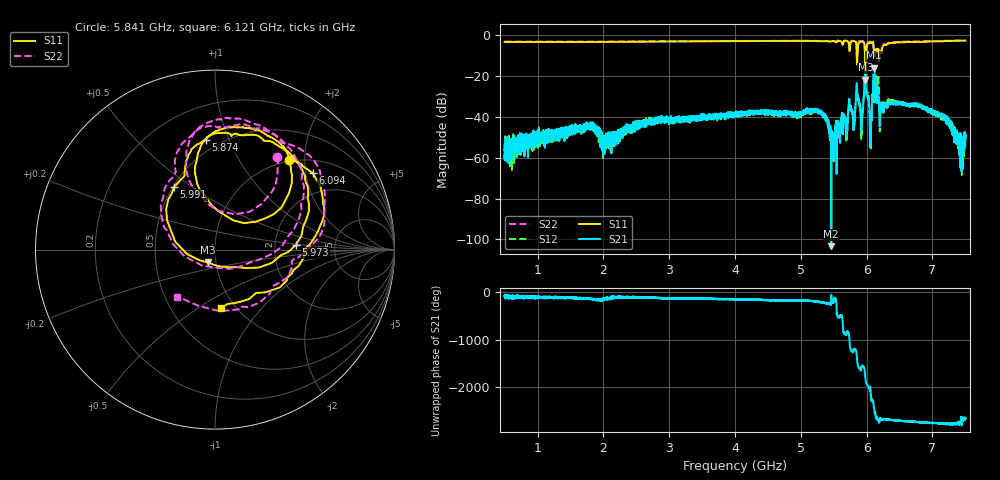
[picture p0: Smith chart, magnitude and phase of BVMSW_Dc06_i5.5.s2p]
!Keysight Technologies,M9374A,MY55442783,A.12.55.05
!Date: Friday, May 21, 2021 10:04:47
!Correction: S11(Full 2 Port(1,2))
!S21(Full 2 Port(1,2))
!S12(Full 2 Port(1,2))
!S22(Full 2 Port(1,2))
!S2P File: Measurements: S11, S21, S12, S22:
# Hz S  RI  R 50
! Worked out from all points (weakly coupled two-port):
!   7001 points, 500 MHz to 7.5 GHz, reference 50 ohm
!   highest |S21| = -15.87 dB at 6.107 GHz (marker M1); lowest = -103.4 dB at 5.463 GHz (marker M2)
!   lowest |S11| = -21.8 dB at 5.982 GHz (marker M3), VSWR 1.18, Z = 45.7 - j6.58 ohm
!   |S11| at or under -10 dB: 5.851134 GHz to 5.85957 GHz (8.436 MHz wide, 0.144 % of centre); 5.976125 GHz to 5.987089 GHz (10.96 MHz wide, 0.183 % of centre); 6.182835 GHz to 6.196389 GHz (13.55 MHz wide, 0.219 % of centre) (the widest 3 of 5)
!   |S22| runs from -20.1 to -2.5 dB; largest |S21 - S12| = 0.14
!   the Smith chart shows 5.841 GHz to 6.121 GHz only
!   S11 on the Smith chart (normalised r, x): 5.841 GHz: 0.99, +1.68; 5.874 GHz: 0.42, +0.83; 5.973 GHz: 2.63, +0.17; 5.991 GHz: 0.51, +0.43; 6.094 GHz: 1.34, +2.19; 6.121 GHz: 0.86, -0.63
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5e8  -0.6848 0.1039  0.000346 -0.000923  -0.000607 -0.00211  -0.6975 0.1001
1.667e9  -0.6108 0.3254  -0.00332 -0.00349  -0.00331 -0.00442  -0.6311 0.3127
2.015e9  -0.5799 0.3846  -0.00164 -0.00119  -0.00278 -0.00122  -0.603 0.3656
2.834e9  -0.4885 0.5126  -0.00528 -0.00833  -0.00423 -0.00802  -0.5175 0.4986
4e9  -0.3107 0.6569  -0.00972 -0.00499  -0.0105 -0.00605  -0.3483 0.6398
5.167e9  -0.0604 0.7347  -0.0148 0.00334  -0.0143 0.00221  -0.1403 0.7274
5.371e9  -0.00726 0.722  -0.00604 0.00759  -0.00695 0.00825  -0.0982 0.7257
5.463e9  0.00583 0.7222  3.62e-06 -5.74e-06  0.00115 0.000966  -0.0768 0.7359
5.841e9  0.4126 0.4965  -0.0347 -0.0126  -0.031 -0.0128  0.3469 0.5165
5.874e9  -0.0516 0.6133  -0.0213 -0.0182  -0.0201 -0.0197  -0.101 0.6672
5.921e9  0.2174 0.6711  -0.00428 -0.00493  -0.00316 -0.00163  0.1372 0.7295
5.973e9  0.4509 0.0264  -0.0445 0.0997  -0.0422 0.0999  0.3179 -0.0236
5.982e9  -0.0396 -0.0714  0.0863 -0.0458  0.0729 -0.05  -0.2683 0.1063
5.991e9  -0.228 0.3485  -0.00878 -0.0391  -0.00436 -0.0398  -0.2309 0.4101
6.047e9  0.152 0.6377  0.000629 0.0101  0.00163 0.00889  0.094 0.6903
6.094e9  0.5438 0.4272  -0.0218 -0.0175  -0.0166 -0.0204  0.6002 0.3784
6.107e9  0.4658 -0.0917  -0.0543 0.1515  -0.1219 0.1084  0.4389 -0.0523
6.121e9  0.0352 -0.3236  0.083 -0.022  0.1299 -0.0438  -0.209 -0.2615
6.223e9  -0.1958 0.3144  -0.0166 -0.00698  -0.00825 -0.0139  -0.2771 0.3145
6.334e9  -0.1944 0.6094  -0.0213 -0.00477  -0.0245 -0.00644  -0.2559 0.6151
6.831e9  -0.00732 0.6979  -0.013 0.0134  -0.0121 0.0118  -0.0685 0.712
7.5e9  0.1086 0.7424  -0.00258 -0.00264  -0.00234 -0.00296  0.0438 0.7456
